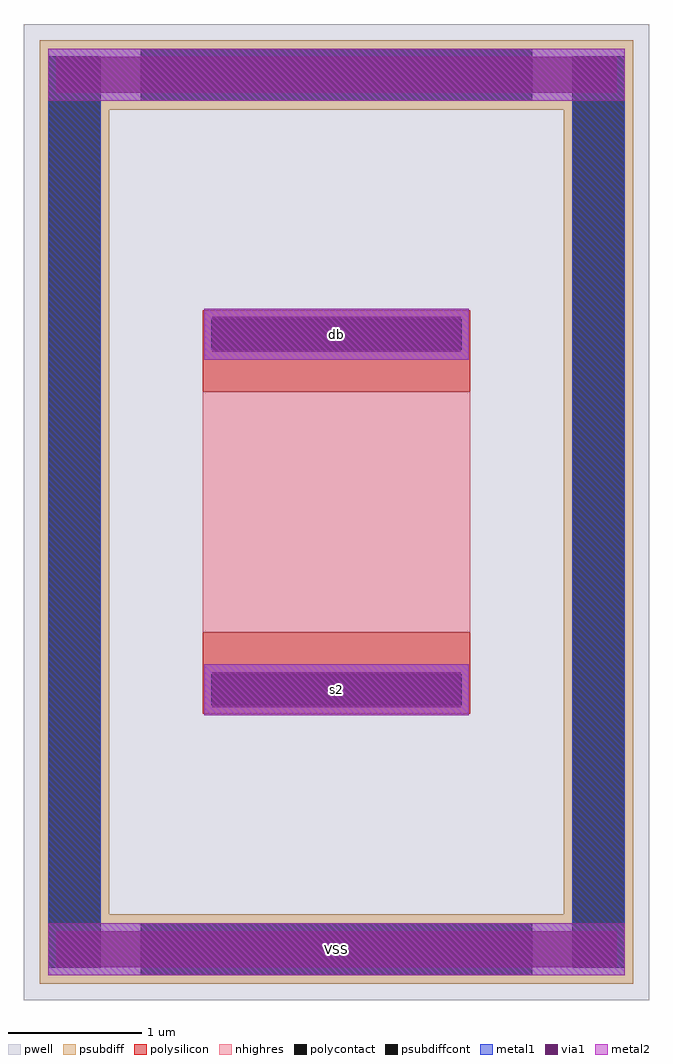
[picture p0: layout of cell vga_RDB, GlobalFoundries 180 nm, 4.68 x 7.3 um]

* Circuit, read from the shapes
.subckt vga_RDB s2 db VSS
XR1 db s2 VSS ppolyf_u_1k r_width=2u r_length=1.8u
.ends

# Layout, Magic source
magic
tech gf180mcuD
magscale 1 10
<< pwell >>
rect -468 -464 468 996
<< psubdiff >>
rect -444 -440 444 -336
rect -444 868 444 972
rect -444 -336 -340 868
rect 340 -336 444 868
<< polysilicon >>
rect -200 446 200 568
rect -200 -36 200 86
<< nhighres >>
rect -200 86 200 446
<< psubdiffcont >>
rect -431 -416 -353 948
rect 353 -416 431 948
rect -293 881 293 959
rect -293 -427 293 -349
<< polycontact >>
rect -187 509 187 555
rect -187 -23 187 23
<< metal1 >>
rect -198 509 198 555
rect -198 -23 198 23
rect -198 -38 198 38
rect -198 494 198 570
rect -431 -427 431 -349
rect -431 881 431 959
rect -431 -427 -353 959
rect 353 -427 431 959
rect -431 -427 431 -349
rect -431 881 431 959
<< metal2 >>
rect -198 -38 198 38
rect -198 494 198 570
rect -431 -427 431 -349
rect -431 881 431 959
<< via1 >>
rect -186 -26 186 26
rect -186 506 186 558
rect -419 -415 419 -361
rect -419 893 419 947
<< labels >>
flabel metal2 s -198 -38 198 38 0 FreeSans 80 0 0 0 s2
port 1 nsew signal bidirectional
flabel metal2 s -198 494 198 570 0 FreeSans 80 0 0 0 db
port 2 nsew signal bidirectional
flabel metal2 s -431 -427 431 -349 0 FreeSans 80 0 0 0 VSS
port 3 nsew signal bidirectional
<< end >>
